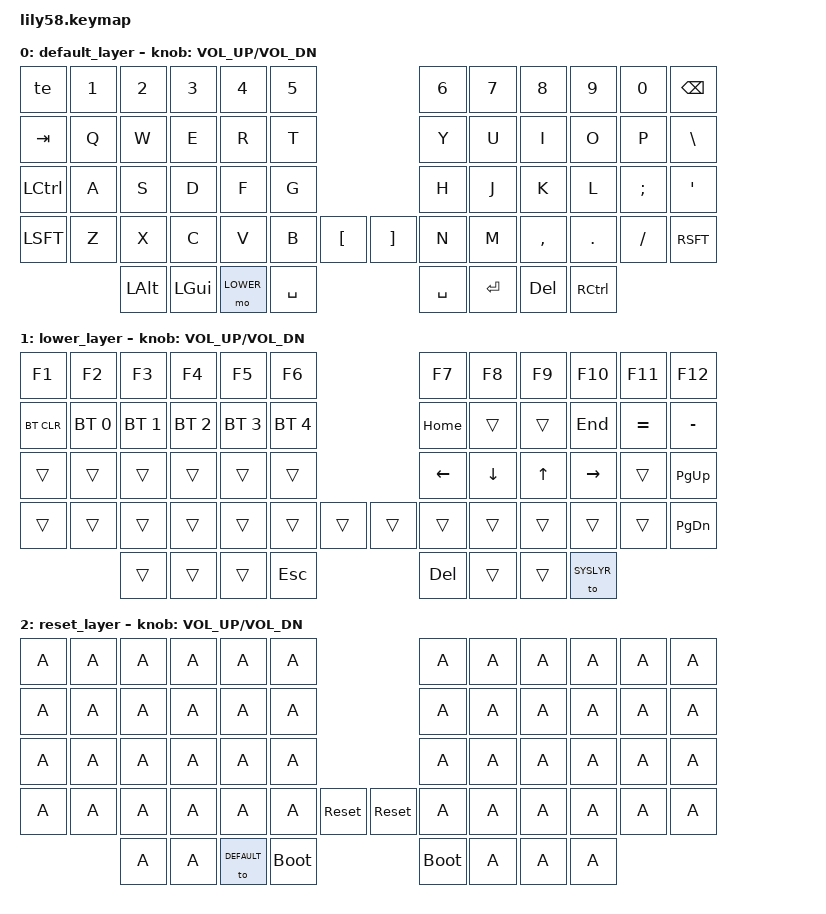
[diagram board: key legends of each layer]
#include <behaviors.dtsi>
#include <dt-bindings/zmk/keys.h>
#include <dt-bindings/zmk/bt.h>
#include <dt-bindings/zmk/ext_power.h>

#define DEFAULT 0
#define LOWER 1
#define SYSLYR 2

#define GTE() &gtesc GRAVE ESC
/ {
    behaviors {
        te: tild_escape {
            compatible = "zmk,behavior-mod-morph";
            #binding-cells = <0>;
            bindings = <&kp ESC>, <&kp TILDE>;
            mods = <(MOD_RSFT)>;
        };

		gtesc: grave_tilde_escape {
			compatible = "zmk,behavior-hold-tap";
            #binding-cells = <2>;
            tapping-term-ms = <150>;
            quick-tap-ms = <0>;
            flavor = "tap-preferred";
            bindings = <&kp>, <&kp>;
		};
	};

	keymap {
		compatible = "zmk,keymap";

		default_layer {
// ------------------------------------------------------------------------------------------------------------
// |ESC/~  |  1  |  2  |  3   |  4   |  5   |                   |  6   |  7    |  8    |  9   |   0   | BSPV  |
// |  TAB  |  Q  |  W  |  E   |  R   |  T   |                   |  Y   |  U    |  I    |  O   |   P   |  "\"  |
// |  CTRL |  A  |  S  |  D   |  F   |  G   |                   |  H   |  J    |  K    |  L   |   ;   |   "   |
// | SHIFT |  Z  |  X  |  C   |  V   |  B   |   "["  |  |  "]"  |  N   |  M    |  ,    |  .   |   /   | SHIFT |
//                     | ALT  | GUI  | LOWER|  SPACE |  | SPACE | RET  | DEL   | CTRL  |
			bindings = <
&te       &kp N1    &kp N2    &kp N3    &kp N4    &kp N5                       &kp N6    &kp N7    &kp N8    &kp N9    &kp N0    &kp BKSP
&kp TAB   &kp Q     &kp W     &kp E     &kp R     &kp T                        &kp Y     &kp U     &kp I     &kp O     &kp P     &kp BSLH
&kp LCTL  &kp A     &kp S     &kp D     &kp F     &kp G                        &kp H     &kp J     &kp K     &kp L     &kp SCLN  &kp QUOT
&kp LSFT  &kp Z     &kp X     &kp C     &kp V     &kp B   &kp LBKT  &kp RBKT   &kp N     &kp M     &kp CMMA  &kp DOT   &kp FSLH  &kp RSFT
                    &kp LALT  &kp LGUI  &mo LOWER &kp SPC                      &kp SPC   &kp RET   &kp DEL   &kp RCTL
			>;

			sensor-bindings = <&inc_dec_kp C_VOL_UP C_VOL_DN>;
		};

		lower_layer {
// ------------------------------------------------------------------------------------------------------------
// |  F1   |  F2 |  F3 |  F4  |  F5  |  F6  |                   |  F7  |  F8   |  F9   |  F10 |  F11  |  F12  |
// | BTCLR | BT1 | BT2 |  BT3 |  BT4 |  BT5 |                   | HOME |       |       |  END |   =   |   -   |
// |       |     |     |      |      |      |                   | LEFT | DOWN  |   UP  | RIGHT|       | PG_UP |
// |       |     |     |      |      |      |        |  |       |      |       |       |      |       | PG_DN |
//                     |      |      |      |   ESC  |  | DELETE|      |       | SYSLYR| 
			bindings = <
&kp F1     &kp F2       &kp F3       &kp F4       &kp F5       &kp F6                          &kp F7    &kp F8    &kp F9     &kp F10   &kp F11   &kp F12
&bt BT_CLR &bt BT_SEL 0 &bt BT_SEL 1 &bt BT_SEL 2 &bt BT_SEL 3 &bt BT_SEL 4                    &kp HOME  &trans    &trans     &kp END   &kp EQUAL &kp MINUS
&trans     &trans       &trans       &trans       &trans       &trans                          &kp LEFT  &kp DOWN  &kp UP     &kp RIGHT &trans    &kp PG_UP 
&trans     &trans       &trans       &trans       &trans       &trans    &trans      &trans    &trans    &trans    &trans     &trans    &trans    &kp PG_DN
                        &trans       &trans       &trans       &kp ESC                         &kp DEL   &trans    &trans     &to SYSLYR
			>;

			sensor-bindings = <&inc_dec_kp C_VOL_UP C_VOL_DN>;
		};

		reset_layer {
// ------------------------------------------------------------------------------------------------------------
// All are A except space and brackets. space is bootloader. bracket is reset
// FN togles back to default
			bindings = <
&kp A    &kp A     &kp A     &kp A     &kp A     &kp A                         &kp A     &kp A     &kp A     &kp A     &kp A     &kp A
&kp A    &kp A     &kp A     &kp A     &kp A     &kp A                         &kp A     &kp A     &kp A     &kp A     &kp A     &kp A
&kp A    &kp A     &kp A     &kp A     &kp A     &kp A                         &kp A     &kp A     &kp A     &kp A     &kp A     &kp A
&kp A    &kp A     &kp A     &kp A     &kp A     &kp A   &sys_reset &sys_reset &kp A     &kp A     &kp A     &kp A     &kp A     &kp A
                   &kp A     &kp A   &to DEFAULT &bootloader                 &bootloader &kp A     &kp A     &kp A 
			>;

			sensor-bindings = <&inc_dec_kp C_VOL_UP C_VOL_DN>;

		};

	};
};
